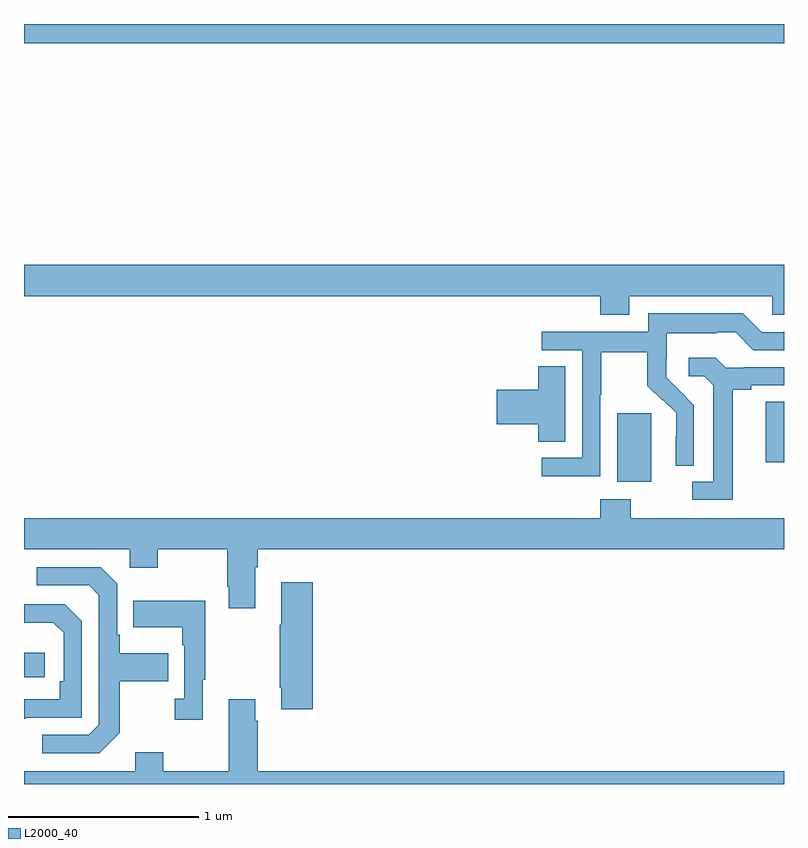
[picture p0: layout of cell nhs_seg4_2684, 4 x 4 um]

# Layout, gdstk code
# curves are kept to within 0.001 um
import gdstk
lib = gdstk.Library(unit=1e-6, precision=1e-09)
def R(c, l, rs):  # rectangles x0, y0, x1, y1
    for r in rs: c.add(gdstk.rectangle(r[:2], r[2:], *l))
def P(c, l, *ps):  # polygons
    for p in ps: c.add(gdstk.Polygon(p, *l))
L2000_40 = (2000, 40)

nhs_seg4_2684 = lib.new_cell('nhs_seg4_2684')
R(nhs_seg4_2684, L2000_40, [(251,813.462,251.11,813.592), (254.123,814.49,254.302,814.851), (254.903,814.593,255,814.913), (251,816.8,255,816.9)])
P(nhs_seg4_2684, L2000_40, [(254.185,815.468),(254.937,815.468),(254.937,815.37),(255,815.37),(255,815.632),(251,815.632),(251,815.468),(254.033,815.468),(254.033,815.369),(254.185,815.369)],
  [(254.034,814.948),(254.037,814.948),(254.037,815.172),(254.281,815.172),(254.281,814.997),(254.358,814.92),(254.361,814.923),(254.432,814.853),(254.432,814.73),(254.43,814.73),(254.43,814.576),(254.526,814.576),(254.526,814.894),(254.38,815.042),(254.38,815.139),(254.382,815.139),(254.382,815.273),(254.645,815.273),(254.645,815.277),(254.745,815.277),(254.838,815.184),(255,815.184),(255,815.28),(254.999,815.277),(254.883,815.277),(254.783,815.377),(254.286,815.377),(254.286,815.28),(253.725,815.28),(253.725,815.184),(253.938,815.184),(253.938,814.617),(253.725,814.617),(253.725,814.519),(254.034,814.519)],
  [(254.731,814.976),(254.827,814.976),(254.827,814.998),(255,814.998),(255,815.094),(254.788,815.094),(254.788,815.091),(254.694,815.091),(254.642,815.143),(254.499,815.143),(254.499,815.046),(254.58,815.046),(254.627,814.999),(254.627,814.491),(254.517,814.491),(254.517,814.395),(254.731,814.395)],
  [(253.849,815.099),(253.706,815.099),(253.706,814.976),(253.488,814.976),(253.488,814.793),(253.706,814.793),(253.706,814.702),(253.849,814.702)],
  [(252.217,814.04),(252.23,814.04),(252.23,814.136),(255,814.136),(255,814.3),(254.193,814.3),(254.193,814.399),(254.033,814.399),(254.033,814.3),(251,814.3),(251,814.136),(251.556,814.136),(251.556,814.037),(251.703,814.037),(251.703,814.136),(252.07,814.136),(252.07,813.937),(252.077,813.937),(252.077,813.825),(252.217,813.825)],
  [(251.503,813.169),(251.503,813.442),(251.759,813.442),(251.759,813.589),(251.503,813.589),(251.503,813.685),(251.49,813.685),(251.49,813.954),(251.403,814.041),(251.067,814.041),(251.067,813.945),(251.343,813.945),(251.394,813.894),(251.394,813.213),(251.34,813.159),(251.097,813.159),(251.097,813.063),(251.397,813.063)],
  [(252.521,813.961),(252.353,813.961),(252.353,813.737),(252.346,813.737),(252.346,813.406),(252.353,813.406),(252.353,813.294),(252.521,813.294)],
  [(251.941,813.449),(251.953,813.449),(251.953,813.865),(251.575,813.865),(251.575,813.725),(251.832,813.725),(251.832,813.629),(251.844,813.629),(251.844,813.35),(251.793,813.35),(251.793,813.237),(251.941,813.237)],
  [(251.009,813.249),(251.304,813.249),(251.304,813.756),(251.214,813.846),(251,813.846),(251,813.749),(251.155,813.749),(251.208,813.696),(251.208,813.442),(251.188,813.442),(251.188,813.345),(251,813.345),(251,813.244),(251.009,813.244)],
  [(255,812.968),(252.23,812.968),(252.23,813.233),(252.217,813.233),(252.217,813.346),(252.077,813.346),(252.077,812.968),(251.733,812.968),(251.733,813.067),(251.585,813.067),(251.585,812.968),(251,812.968),(251,812.9),(255,812.9)])

lib.write_gds('nhs_seg4_2684.gds')
